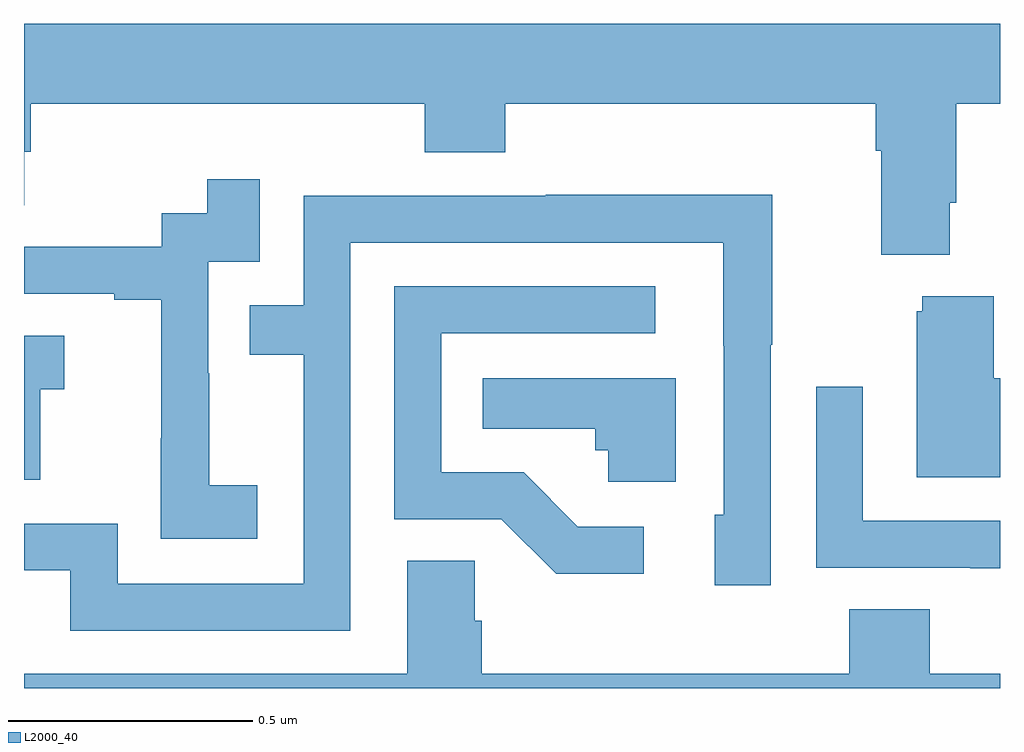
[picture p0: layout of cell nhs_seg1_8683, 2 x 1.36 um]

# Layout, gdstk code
import gdstk
lib = gdstk.Library(unit=1e-6, precision=1e-09)
def P(c, l, *ps):  # polygons
    for p in ps: c.add(gdstk.Polygon(p, *l))
L2000_40 = (2000, 40)

nhs_seg1_8683 = lib.new_cell('nhs_seg1_8683')
P(nhs_seg1_8683, L2000_40, [(220.897,554.194),(220.91,554.194),(220.91,554.396),(221,554.396),(221,554.56),(219,554.56),(219,554.188),(219.001,554.188),(219.001,554.298),(219.014,554.298),(219.014,554.396),(219.821,554.396),(219.821,554.297),(219.986,554.297),(219.986,554.396),(220.745,554.396),(220.745,554.3),(220.757,554.3),(220.757,554.087),(220.897,554.087)],
  [(219.478,553.615),(219.38,553.615),(219.38,553.844),(219.378,553.844),(219.378,554.073),(219.483,554.073),(219.483,554.242),(219.375,554.242),(219.375,554.172),(219.282,554.172),(219.282,554.103),(219,554.103),(219,554.007),(219.185,554.007),(219.185,553.995),(219.281,553.995),(219.281,553.711),(219.28,553.711),(219.28,553.505),(219.478,553.505)],
  [(219.669,554.112),(220.433,554.112),(220.433,553.9),(220.434,553.9),(220.434,553.554),(220.415,553.554),(220.415,553.41),(220.53,553.41),(220.53,553.903),(220.533,553.903),(220.533,554.21),(220.069,554.21),(220.069,554.208),(219.573,554.208),(219.573,553.983),(219.463,553.983),(219.463,553.882),(219.573,553.882),(219.573,553.413),(219.192,553.413),(219.192,553.536),(219,553.536),(219,553.44),(219.095,553.44),(219.095,553.317),(219.669,553.317)],
  [(220.27,553.53),(220.135,553.53),(220.024,553.641),(219.855,553.641),(219.855,553.926),(220.294,553.926),(220.294,554.022),(219.759,554.022),(219.759,553.545),(219.978,553.545),(220.091,553.433),(220.27,553.433)],
  [(221,553.834),(220.987,553.834),(220.987,554.002),(220.841,554.002),(220.841,553.971),(220.829,553.971),(220.829,553.631),(221,553.631)],
  [(219.033,553.811),(219.082,553.811),(219.082,553.921),(219,553.921),(219,553.626),(219.033,553.626)],
  [(220.336,553.834),(219.94,553.834),(219.94,553.73),(220.171,553.73),(220.171,553.686),(220.197,553.686),(220.197,553.622),(220.336,553.622)],
  [(221,553.542),(220.719,553.542),(220.719,553.816),(220.623,553.816),(220.623,553.446),(220.939,553.446),(220.939,553.445),(221,553.445)],
  [(221,553.228),(220.856,553.228),(220.856,553.361),(220.691,553.361),(220.691,553.228),(219.938,553.228),(219.938,553.337),(219.924,553.337),(219.924,553.46),(219.785,553.46),(219.785,553.228),(219,553.228),(219,553.199),(221,553.199)])

lib.write_gds('nhs_seg1_8683.gds')
